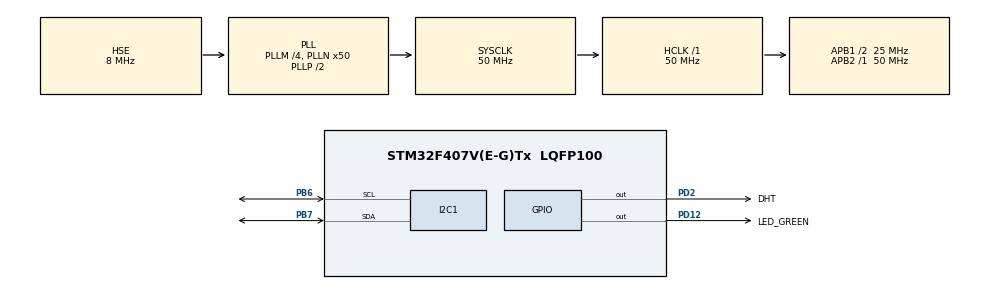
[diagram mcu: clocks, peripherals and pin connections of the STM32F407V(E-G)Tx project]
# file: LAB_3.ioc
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Mcu.Family=STM32F4
Mcu.Name=STM32F407V(E-G)Tx
Mcu.Package=LQFP100
NVIC.PriorityGroup=NVIC_PRIORITYGROUP_4
PA13.Mode=Serial_Wire
PA13.Signal=SYS_JTMS-SWDIO
PA14.Mode=Serial_Wire
PA14.Signal=SYS_JTCK-SWCLK
PB6.Mode=I2C
PB6.Signal=I2C1_SCL
PB7.Mode=I2C
PB7.Signal=I2C1_SDA
PD12.GPIO_Label=LED_GREEN
PD12.Signal=GPIO_Output
PD2.GPIO_Label=DHT
PD2.GPIO_PuPd=GPIO_PULLUP
PD2.PinState=GPIO_PIN_SET
PD2.Signal=GPIO_Output
PH0-OSC_IN.Mode=HSE-External-Oscillator
PH0-OSC_IN.Signal=RCC_OSC_IN
PH1-OSC_OUT.Mode=HSE-External-Oscillator
PH1-OSC_OUT.Signal=RCC_OSC_OUT
ProjectManager.HeapSize=0x200
ProjectManager.StackSize=0x400
ProjectManager.TargetToolchain=STM32CubeIDE
RCC.48MHZClocksFreq_Value=25000000
RCC.AHBFreq_Value=50000000
RCC.APB1CLKDivider=RCC_HCLK_DIV2
RCC.APB1Freq_Value=25000000
RCC.APB1TimFreq_Value=50000000
RCC.APB2Freq_Value=50000000
RCC.APB2TimFreq_Value=50000000
RCC.CortexFreq_Value=50000000
RCC.HCLKFreq_Value=50000000
RCC.HSE_VALUE=8000000
RCC.HSI_VALUE=16000000
RCC.LSE_VALUE=32768
RCC.PLLM=4
RCC.PLLN=50
RCC.PLLSourceVirtual=RCC_PLLSOURCE_HSE
RCC.SYSCLKFreq_VALUE=50000000
RCC.SYSCLKSource=RCC_SYSCLKSOURCE_PLLCLK
RCC.VCOOutputFreq_Value=100000000
TIM2.Period=0xffff - 1
TIM2.Prescaler=49
VP_TIM2_VS_ClockSourceINT.Mode=Internal
board=custom

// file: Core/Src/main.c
/* USER CODE BEGIN Header */
/**
  ******************************************************************************
  * @file           : main.c
  * @brief          : Main program body
  ******************************************************************************
  * @attention
  *
  * Copyright (c) 2026 STMicroelectronics.
  * All rights reserved.
  *
  * This software is licensed under terms that can be found in the LICENSE file
  * in the root directory of this software component.
  * If no LICENSE file comes with this software, it is provided AS-IS.
  *
  ******************************************************************************
  */
/* USER CODE END Header */
#include "main.h"

/* USER CODE BEGIN Includes */
#include "QC1602.h"
#include "dht22.h"
#include "stdio.h"
#include "string.h"
/* USER CODE END Includes */

I2C_HandleTypeDef hi2c1;

TIM_HandleTypeDef htim2;

/* USER CODE BEGIN PV */
QC1602_HandleTypeDef disp1;
uint8_t presence = 0, rh_byte1 = 0, rh_byte2 = 0, temp_byte1 = 0, temp_byte2 = 0, sum = 0;
uint16_t temp = 0, rh = 0;
float temperature = 0, humidity = 0;
/* USER CODE END PV */

void SystemClock_Config(void);
static void MX_GPIO_Init(void);
static void MX_I2C1_Init(void);
static void MX_TIM2_Init(void);

int main(void)
{

  /* MCU Configuration--------------------------------------------------------*/

  /* Reset of all peripherals, Initializes the Flash interface and the Systick. */
  HAL_Init();

  /* Configure the system clock */
  SystemClock_Config();

  /* Initialize all configured peripherals */
  MX_GPIO_Init();
  MX_I2C1_Init();
  MX_TIM2_Init();
  /* USER CODE BEGIN 2 */
  HAL_TIM_Base_Start(&htim2);

  if (QC1602_Init(&disp1, &hi2c1, 0x4E, 1, 16) != HAL_OK) {
	 HAL_GPIO_WritePin(LED_GREEN_GPIO_Port, LED_GREEN_Pin, 1);
  }

  /* USER CODE END 2 */

  /* Infinite loop */
  /* USER CODE BEGIN WHILE */
  while (1)
  {
	DHT22_Start();
	presence = DHT22_Check_Response();
	rh_byte1 = DHT22_Read();
	rh_byte2 = DHT22_Read();
	temp_byte1 = DHT22_Read();
	temp_byte2 = DHT22_Read();
	sum = DHT22_Read();

	temp = temp_byte1;
	rh = rh_byte1;

	temperature = (float)temp;
	humidity = (float)rh;

	char temperature_buf[14], humidity_buf[11];

	snprintf(temperature_buf, sizeof(temperature_buf), "Temp: %d 'C", (uint8_t)temperature);
	snprintf(humidity_buf, sizeof(humidity_buf), "Humid: %d", (uint8_t)humidity);

	QC1602_ClearDisplay(&disp1);
	QC1602_WriteString(&disp1, temperature_buf, strlen(temperature_buf), 0, 0);
	QC1602_WriteString(&disp1, humidity_buf, strlen(humidity_buf), 1, 0);

	HAL_Delay(3000);
    /* USER CODE END WHILE */

  }
}

void SystemClock_Config(void)
{
  RCC_OscInitTypeDef RCC_OscInitStruct = {0};
  RCC_ClkInitTypeDef RCC_ClkInitStruct = {0};

  /** Configure the main internal regulator output voltage
  */
  __HAL_RCC_PWR_CLK_ENABLE();
  __HAL_PWR_VOLTAGESCALING_CONFIG(PWR_REGULATOR_VOLTAGE_SCALE1);

  /** Initializes the RCC Oscillators according to the specified parameters
  * in the RCC_OscInitTypeDef structure.
  */
  RCC_OscInitStruct.OscillatorType = RCC_OSCILLATORTYPE_HSE;
  RCC_OscInitStruct.HSEState = RCC_HSE_ON;
  RCC_OscInitStruct.PLL.PLLState = RCC_PLL_ON;
  RCC_OscInitStruct.PLL.PLLSource = RCC_PLLSOURCE_HSE;
  RCC_OscInitStruct.PLL.PLLM = 4;
  RCC_OscInitStruct.PLL.PLLN = 50;
  RCC_OscInitStruct.PLL.PLLP = RCC_PLLP_DIV2;
  RCC_OscInitStruct.PLL.PLLQ = 4;
  if (HAL_RCC_OscConfig(&RCC_OscInitStruct) != HAL_OK)
  {
    Error_Handler();
  }

  /** Initializes the CPU, AHB and APB buses clocks
  */
  RCC_ClkInitStruct.ClockType = RCC_CLOCKTYPE_HCLK|RCC_CLOCKTYPE_SYSCLK
                              |RCC_CLOCKTYPE_PCLK1|RCC_CLOCKTYPE_PCLK2;
  RCC_ClkInitStruct.SYSCLKSource = RCC_SYSCLKSOURCE_PLLCLK;
  RCC_ClkInitStruct.AHBCLKDivider = RCC_SYSCLK_DIV1;
  RCC_ClkInitStruct.APB1CLKDivider = RCC_HCLK_DIV2;
  RCC_ClkInitStruct.APB2CLKDivider = RCC_HCLK_DIV1;

  if (HAL_RCC_ClockConfig(&RCC_ClkInitStruct, FLASH_LATENCY_1) != HAL_OK)
  {
    Error_Handler();
  }
}

static void MX_I2C1_Init(void)
{

  hi2c1.Instance = I2C1;
  hi2c1.Init.ClockSpeed = 100000;
  hi2c1.Init.DutyCycle = I2C_DUTYCYCLE_2;
  hi2c1.Init.OwnAddress1 = 0;
  hi2c1.Init.AddressingMode = I2C_ADDRESSINGMODE_7BIT;
  hi2c1.Init.DualAddressMode = I2C_DUALADDRESS_DISABLE;
  hi2c1.Init.OwnAddress2 = 0;
  hi2c1.Init.GeneralCallMode = I2C_GENERALCALL_DISABLE;
  hi2c1.Init.NoStretchMode = I2C_NOSTRETCH_DISABLE;
  if (HAL_I2C_Init(&hi2c1) != HAL_OK)
  {
    Error_Handler();
  }

}

static void MX_TIM2_Init(void)
{

  TIM_ClockConfigTypeDef sClockSourceConfig = {0};
  TIM_MasterConfigTypeDef sMasterConfig = {0};

  htim2.Instance = TIM2;
  htim2.Init.Prescaler = 49;
  htim2.Init.CounterMode = TIM_COUNTERMODE_UP;
  htim2.Init.Period = 0xffff - 1;
  htim2.Init.ClockDivision = TIM_CLOCKDIVISION_DIV1;
  htim2.Init.AutoReloadPreload = TIM_AUTORELOAD_PRELOAD_DISABLE;
  if (HAL_TIM_Base_Init(&htim2) != HAL_OK)
  {
    Error_Handler();
  }
  sClockSourceConfig.ClockSource = TIM_CLOCKSOURCE_INTERNAL;
  if (HAL_TIM_ConfigClockSource(&htim2, &sClockSourceConfig) != HAL_OK)
  {
    Error_Handler();
  }
  sMasterConfig.MasterOutputTrigger = TIM_TRGO_RESET;
  sMasterConfig.MasterSlaveMode = TIM_MASTERSLAVEMODE_DISABLE;
  if (HAL_TIMEx_MasterConfigSynchronization(&htim2, &sMasterConfig) != HAL_OK)
  {
    Error_Handler();
  }

}

static void MX_GPIO_Init(void)
{
  GPIO_InitTypeDef GPIO_InitStruct = {0};

  /* GPIO Ports Clock Enable */
  __HAL_RCC_GPIOH_CLK_ENABLE();
  __HAL_RCC_GPIOD_CLK_ENABLE();
  __HAL_RCC_GPIOA_CLK_ENABLE();
  __HAL_RCC_GPIOB_CLK_ENABLE();

  /*Configure GPIO pin Output Level */
  HAL_GPIO_WritePin(LED_GREEN_GPIO_Port, LED_GREEN_Pin, GPIO_PIN_RESET);

  /*Configure GPIO pin Output Level */
  HAL_GPIO_WritePin(DHT_GPIO_Port, DHT_Pin, GPIO_PIN_SET);

  /*Configure GPIO pin : LED_GREEN_Pin */
  GPIO_InitStruct.Pin = LED_GREEN_Pin;
  GPIO_InitStruct.Mode = GPIO_MODE_OUTPUT_PP;
  GPIO_InitStruct.Pull = GPIO_NOPULL;
  GPIO_InitStruct.Speed = GPIO_SPEED_FREQ_LOW;
  HAL_GPIO_Init(LED_GREEN_GPIO_Port, &GPIO_InitStruct);

  /*Configure GPIO pin : DHT_Pin */
  GPIO_InitStruct.Pin = DHT_Pin;
  GPIO_InitStruct.Mode = GPIO_MODE_OUTPUT_PP;
  GPIO_InitStruct.Pull = GPIO_PULLUP;
  GPIO_InitStruct.Speed = GPIO_SPEED_FREQ_LOW;
  HAL_GPIO_Init(DHT_GPIO_Port, &GPIO_InitStruct);

}

void Error_Handler(void)
{
  __disable_irq();
  while (1)
  {
  }
}
